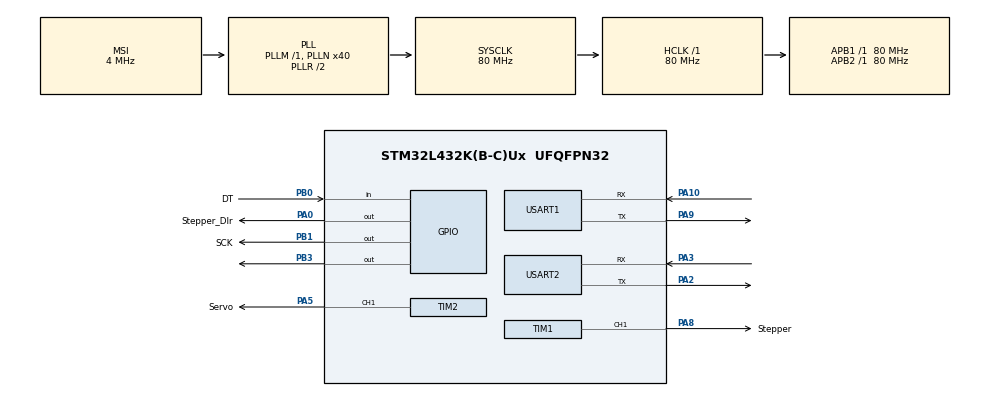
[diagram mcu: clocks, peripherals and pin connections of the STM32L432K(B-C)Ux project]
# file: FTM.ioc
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Dma.Request0=USART1_RX
Dma.Request1=USART1_TX
Dma.Request2=USART2_RX
Dma.Request3=USART2_TX
Dma.USART1_RX.0.Direction=DMA_PERIPH_TO_MEMORY
Dma.USART1_RX.0.Instance=DMA1_Channel5
Dma.USART1_RX.0.MemDataAlignment=DMA_MDATAALIGN_BYTE
Dma.USART1_RX.0.MemInc=DMA_MINC_ENABLE
Dma.USART1_RX.0.Mode=DMA_CIRCULAR
Dma.USART1_RX.0.PeriphDataAlignment=DMA_PDATAALIGN_BYTE
Dma.USART1_RX.0.PeriphInc=DMA_PINC_DISABLE
Dma.USART1_RX.0.Priority=DMA_PRIORITY_LOW
Dma.USART1_TX.1.Direction=DMA_MEMORY_TO_PERIPH
Dma.USART1_TX.1.Instance=DMA1_Channel4
Dma.USART1_TX.1.MemDataAlignment=DMA_MDATAALIGN_BYTE
Dma.USART1_TX.1.MemInc=DMA_MINC_ENABLE
Dma.USART1_TX.1.Mode=DMA_CIRCULAR
Dma.USART1_TX.1.PeriphDataAlignment=DMA_PDATAALIGN_BYTE
Dma.USART1_TX.1.PeriphInc=DMA_PINC_DISABLE
Dma.USART1_TX.1.Priority=DMA_PRIORITY_LOW
Dma.USART2_RX.2.Direction=DMA_PERIPH_TO_MEMORY
Dma.USART2_RX.2.Instance=DMA1_Channel6
Dma.USART2_RX.2.MemDataAlignment=DMA_MDATAALIGN_BYTE
Dma.USART2_RX.2.MemInc=DMA_MINC_ENABLE
Dma.USART2_RX.2.Mode=DMA_CIRCULAR
Dma.USART2_RX.2.PeriphDataAlignment=DMA_PDATAALIGN_BYTE
Dma.USART2_RX.2.PeriphInc=DMA_PINC_DISABLE
Dma.USART2_RX.2.Priority=DMA_PRIORITY_LOW
Dma.USART2_TX.3.Direction=DMA_MEMORY_TO_PERIPH
Dma.USART2_TX.3.Instance=DMA1_Channel7
Dma.USART2_TX.3.MemDataAlignment=DMA_MDATAALIGN_BYTE
Dma.USART2_TX.3.MemInc=DMA_MINC_ENABLE
Dma.USART2_TX.3.Mode=DMA_CIRCULAR
Dma.USART2_TX.3.PeriphDataAlignment=DMA_PDATAALIGN_BYTE
Dma.USART2_TX.3.PeriphInc=DMA_PINC_DISABLE
Dma.USART2_TX.3.Priority=DMA_PRIORITY_LOW
FREERTOS.BinarySemaphores01=Stepper_Semaphore,Dynamic,NULL,Available;Servo_Semaphore,Dynamic,NULL,Depleted;Load_Cell_Semaphore,Dynamic,NULL,Depleted
FREERTOS.Tasks01=Stepper_Motor,40,128,Stepper_Motor_Init,Default,NULL,Dynamic,NULL,NULL;Servo_Motor,16,128,Servo_Motor_Init,Default,NULL,Dynamic,NULL,NULL;Load_Cell,16,128,Load_Cell_Init,Default,NULL,Dynamic,NULL,NULL
Mcu.Family=STM32L4
Mcu.Name=STM32L432K(B-C)Ux
Mcu.Package=UFQFPN32
NVIC.DMA1_Channel4_IRQn=true\:5\:0\:false\:false\:true\:true\:false\:true\:true
NVIC.DMA1_Channel5_IRQn=true\:5\:0\:false\:false\:true\:true\:false\:true\:true
NVIC.DMA1_Channel6_IRQn=true\:5\:0\:false\:false\:true\:true\:false\:true\:true
NVIC.DMA1_Channel7_IRQn=true\:5\:0\:false\:false\:true\:true\:false\:true\:true
NVIC.PriorityGroup=NVIC_PRIORITYGROUP_4
NVIC.TIM6_DAC_IRQn=true\:15\:0\:false\:false\:true\:false\:false\:true\:true
NVIC.TimeBase=TIM6_DAC_IRQn
NVIC.TimeBaseIP=TIM6
PA0.GPIO_Label=Stepper_DIr
PA0.Signal=GPIO_Output
PA10.Mode=Asynchronous
PA10.Signal=USART1_RX
PA2.Mode=Asynchronous
PA2.Signal=USART2_TX
PA3.Mode=Asynchronous
PA3.Signal=USART2_RX
PA5.GPIO_Label=Servo
PA5.Signal=S_TIM2_CH1
PA8.GPIO_Label=Stepper
PA8.Signal=S_TIM1_CH1
PA9.Mode=Asynchronous
PA9.Signal=USART1_TX
PB0.GPIO_Label=DT
PB0.Signal=GPIO_Input
PB1.GPIO_Label=SCK
PB1.Signal=GPIO_Output
PB3\ (JTDO-TRACESWO).Signal=GPIO_Output
ProjectManager.HeapSize=0x200
ProjectManager.StackSize=0x400
ProjectManager.TargetToolchain=MDK-ARM V5.32
RCC.AHBFreq_Value=80000000
RCC.APB1Freq_Value=80000000
RCC.APB1TimFreq_Value=80000000
RCC.APB2Freq_Value=80000000
RCC.APB2TimFreq_Value=80000000
RCC.CortexFreq_Value=80000000
RCC.HCLKFreq_Value=80000000
RCC.HSE_VALUE=8000000
RCC.HSI48_VALUE=48000000
RCC.HSI_VALUE=16000000
RCC.LSE_VALUE=32768
RCC.MSI_VALUE=4000000
RCC.PLLN=40
RCC.SYSCLKFreq_VALUE=80000000
RCC.SYSCLKSource=RCC_SYSCLKSOURCE_PLLCLK
RCC.VCOOutputFreq_Value=160000000
SH.S_TIM1_CH1.0=TIM1_CH1,PWM Generation1 CH1
SH.S_TIM2_CH1.0=TIM2_CH1,PWM Generation1 CH1
TIM1.Channel-PWM\ Generation1\ CH1=TIM_CHANNEL_1
TIM1.Period=1000-1
TIM1.Prescaler=80-1
TIM2.Channel-PWM\ Generation1\ CH1=TIM_CHANNEL_1
TIM2.Period=1000-1
TIM2.Prescaler=1500
USART1.VirtualMode-Asynchronous=VM_ASYNC
USART2.VirtualMode-Asynchronous=VM_ASYNC
VP_FREERTOS_VS_CMSIS_V2.Mode=CMSIS_V2
VP_SYS_VS_tim6.Mode=TIM6
VP_TIM1_VS_ClockSourceINT.Mode=Internal
VP_TIM2_VS_ClockSourceINT.Mode=Internal
board=custom

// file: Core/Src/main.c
/* USER CODE BEGIN Header */
/**
  ******************************************************************************
  * @file           : main.c
  * @brief          : Main program body
  ******************************************************************************
  * @attention
  *
  * Copyright (c) 2024 STMicroelectronics.
  * All rights reserved.
  *
  * This software is licensed under terms that can be found in the LICENSE file
  * in the root directory of this software component.
  * If no LICENSE file comes with this software, it is provided AS-IS.
  *
  ******************************************************************************
  */
/* USER CODE END Header */
#include "main.h"
#include "cmsis_os.h"

/* USER CODE BEGIN Includes */
#include "stm32l4xx_hal.h"
#include "stdbool.h"

/* USER CODE END Includes */

/* USER CODE BEGIN PD */

#define STEP_DELAY 50 			// Decrease delay to increase servo speed
#define SERVO_MIN_ANGLE 0   // Minimum servo angle in degrees
#define SERVO_MAX_ANGLE 180 // Maximum servo angle in degrees
#define SERVO_MIN_PULSE 25  // Corresponding pulse width for min angle (1ms)
#define SERVO_MAX_PULSE 125 // Corresponding pulse width for max angle (2ms)
#define DT_PIN GPIO_PIN_0   // Load cell  DT Pin
#define DT_PORT GPIOB       // load Cell DT  Port
#define SCK_PIN GPIO_PIN_1  // Load Cell SCK Pin
#define SCK_PORT GPIOB      // Load Cell SCK Port
#define Buffer_Size 9       // Buffer Size for receiving Data

/* USER CODE END PD */

TIM_HandleTypeDef htim1;
TIM_HandleTypeDef htim2;

UART_HandleTypeDef huart1;
UART_HandleTypeDef huart2;
DMA_HandleTypeDef hdma_usart1_rx;
DMA_HandleTypeDef hdma_usart1_tx;
DMA_HandleTypeDef hdma_usart2_rx;
DMA_HandleTypeDef hdma_usart2_tx;

/* Definitions for Stepper_Motor */
osThreadId_t Stepper_MotorHandle;
const osThreadAttr_t Stepper_Motor_attributes = {
  .name = "Stepper_Motor",
  .stack_size = 128 * 4,
  .priority = (osPriority_t) osPriorityHigh,
};
/* Definitions for Servo_Motor */
osThreadId_t Servo_MotorHandle;
const osThreadAttr_t Servo_Motor_attributes = {
  .name = "Servo_Motor",
  .stack_size = 128 * 4,
  .priority = (osPriority_t) osPriorityBelowNormal,
};
/* Definitions for Load_Cell */
osThreadId_t Load_CellHandle;
const osThreadAttr_t Load_Cell_attributes = {
  .name = "Load_Cell",
  .stack_size = 128 * 4,
  .priority = (osPriority_t) osPriorityBelowNormal,
};
/* Definitions for Stepper_Semaphore */
osSemaphoreId_t Stepper_SemaphoreHandle;
const osSemaphoreAttr_t Stepper_Semaphore_attributes = {
  .name = "Stepper_Semaphore"
};
/* Definitions for Servo_Semaphore */
osSemaphoreId_t Servo_SemaphoreHandle;
const osSemaphoreAttr_t Servo_Semaphore_attributes = {
  .name = "Servo_Semaphore"
};
/* Definitions for Load_Cell_Semaphore */
osSemaphoreId_t Load_Cell_SemaphoreHandle;
const osSemaphoreAttr_t Load_Cell_Semaphore_attributes = {
  .name = "Load_Cell_Semaphore"
};
/* USER CODE BEGIN PV */

uint16_t current_angle = 10;
int state = 0;
int length = 16500;
int stepper_speed = 15000;
int servo_angle = 90;
bool servo_active = false;
char buffer[24] = {0X5A,0XA5,0X07,0X82,0X10,0X00,0X00,0x00,0x00,0x00,
	0x5A,0XA5,0X0B,0X82,0X03,0X10,0X5a,0Xa5,0X01,0X00,0X01,0X01,0X00,0X00
};
bool toggle_flag = false;  // Define a flag to toggle between 0 and measured value
uint8_t rx_buffer[Buffer_Size];
uint16_t vp_address = 0x1100;  // VP address for the Transmitting
uint16_t VP_Address; 	// VP Address For Receiving
volatile int start_flag = 0;
volatile int stop_flag = 0;
volatile bool stop_servo = false;
bool movement_in_progress = false;
volatile bool servo_running = false;

/* USER CODE END PV */

void SystemClock_Config(void);
static void MX_GPIO_Init(void);
static void MX_DMA_Init(void);
static void MX_TIM1_Init(void);
static void MX_TIM2_Init(void);
static void MX_USART2_UART_Init(void);
static void MX_USART1_UART_Init(void);
void Stepper_Motor_Init(void *argument);
void Servo_Motor_Init(void *argument);
void Load_Cell_Init(void *argument);

/* USER CODE BEGIN PFP */

void move_servo_to_angle(uint16_t target_angle, uint16_t speed);
void SendDataToLCD(int value);
void DisplayGraph(int reading);
void DisplayNumber(uint16_t vp__address, int values);
void Start_Process(void);
void Stop_Process(void);

/* USER CODE END PFP */

/* USER CODE BEGIN 0 */

uint32_t tare =7933904;
float knownOriginal = 100000;  // in milli gram
float knownHX711 = 45539;
int force;

/* USER CODE END 0 */

int main(void)

{

  /* MCU Configuration--------------------------------------------------------*/

  /* Reset of all peripherals, Initializes the Flash interface and the Systick. */
  HAL_Init();

  /* Configure the system clock */
  SystemClock_Config();

  /* Initialize all configured peripherals */
  MX_GPIO_Init();
  MX_DMA_Init();
  MX_TIM1_Init();
  MX_TIM2_Init();
  MX_USART2_UART_Init();
  MX_USART1_UART_Init();
  /* USER CODE BEGIN 2 */
		HAL_Delay(500);

		HAL_UART_Receive_DMA(&huart2, rx_buffer, Buffer_Size);
	 //HAL_UART_Transmit_DMA(&huart2, rx_buffer, Buffer_Size);

	 HAL_TIM_PWM_Start(&htim2, TIM_CHANNEL_1);

	 HAL_GPIO_WritePin(SCK_PORT, SCK_PIN, GPIO_PIN_SET);
   osDelay(10);
   HAL_GPIO_WritePin(SCK_PORT, SCK_PIN, GPIO_PIN_RESET);
   osDelay(10);

  /* USER CODE END 2 */

  /* Init scheduler */
  osKernelInitialize();

  /* Create the semaphores(s) */
  /* creation of Stepper_Semaphore */
  Stepper_SemaphoreHandle = osSemaphoreNew(1, 0, &Stepper_Semaphore_attributes);

  /* creation of Servo_Semaphore */
  Servo_SemaphoreHandle = osSemaphoreNew(1, 0, &Servo_Semaphore_attributes);

  /* creation of Load_Cell_Semaphore */
  Load_Cell_SemaphoreHandle = osSemaphoreNew(1, 0, &Load_Cell_Semaphore_attributes);

  /* Create the thread(s) */
  /* creation of Stepper_Motor */
  Stepper_MotorHandle = osThreadNew(Stepper_Motor_Init, NULL, &Stepper_Motor_attributes);

  /* creation of Servo_Motor */
  Servo_MotorHandle = osThreadNew(Servo_Motor_Init, NULL, &Servo_Motor_attributes);

  /* creation of Load_Cell */
  Load_CellHandle = osThreadNew(Load_Cell_Init, NULL, &Load_Cell_attributes);

  /* Start scheduler */
  osKernelStart();

  /* We should never get here as control is now taken by the scheduler */

  /* Infinite loop */
  while (1)
  {

    /* USER CODE BEGIN 3 */
		HAL_Delay(50);
  }
  /* USER CODE END 3 */
}

void SystemClock_Config(void)
{
  RCC_OscInitTypeDef RCC_OscInitStruct = {0};
  RCC_ClkInitTypeDef RCC_ClkInitStruct = {0};

  /** Configure the main internal regulator output voltage
  */
  if (HAL_PWREx_ControlVoltageScaling(PWR_REGULATOR_VOLTAGE_SCALE1) != HAL_OK)
  {
    Error_Handler();
  }

  /** Initializes the RCC Oscillators according to the specified parameters
  * in the RCC_OscInitTypeDef structure.
  */
  RCC_OscInitStruct.OscillatorType = RCC_OSCILLATORTYPE_MSI;
  RCC_OscInitStruct.MSIState = RCC_MSI_ON;
  RCC_OscInitStruct.MSICalibrationValue = 0;
  RCC_OscInitStruct.MSIClockRange = RCC_MSIRANGE_6;
  RCC_OscInitStruct.PLL.PLLState = RCC_PLL_ON;
  RCC_OscInitStruct.PLL.PLLSource = RCC_PLLSOURCE_MSI;
  RCC_OscInitStruct.PLL.PLLM = 1;
  RCC_OscInitStruct.PLL.PLLN = 40;
  RCC_OscInitStruct.PLL.PLLP = RCC_PLLP_DIV7;
  RCC_OscInitStruct.PLL.PLLQ = RCC_PLLQ_DIV2;
  RCC_OscInitStruct.PLL.PLLR = RCC_PLLR_DIV2;
  if (HAL_RCC_OscConfig(&RCC_OscInitStruct) != HAL_OK)
  {
    Error_Handler();
  }

  /** Initializes the CPU, AHB and APB buses clocks
  */
  RCC_ClkInitStruct.ClockType = RCC_CLOCKTYPE_HCLK|RCC_CLOCKTYPE_SYSCLK
                              |RCC_CLOCKTYPE_PCLK1|RCC_CLOCKTYPE_PCLK2;
  RCC_ClkInitStruct.SYSCLKSource = RCC_SYSCLKSOURCE_PLLCLK;
  RCC_ClkInitStruct.AHBCLKDivider = RCC_SYSCLK_DIV1;
  RCC_ClkInitStruct.APB1CLKDivider = RCC_HCLK_DIV1;
  RCC_ClkInitStruct.APB2CLKDivider = RCC_HCLK_DIV1;

  if (HAL_RCC_ClockConfig(&RCC_ClkInitStruct, FLASH_LATENCY_4) != HAL_OK)
  {
    Error_Handler();
  }
}

static void MX_TIM1_Init(void)
{

  TIM_ClockConfigTypeDef sClockSourceConfig = {0};
  TIM_MasterConfigTypeDef sMasterConfig = {0};
  TIM_OC_InitTypeDef sConfigOC = {0};
  TIM_BreakDeadTimeConfigTypeDef sBreakDeadTimeConfig = {0};

  htim1.Instance = TIM1;
  htim1.Init.Prescaler = 80-1;
  htim1.Init.CounterMode = TIM_COUNTERMODE_UP;
  htim1.Init.Period = 1000-1;
  htim1.Init.ClockDivision = TIM_CLOCKDIVISION_DIV1;
  htim1.Init.RepetitionCounter = 0;
  htim1.Init.AutoReloadPreload = TIM_AUTORELOAD_PRELOAD_DISABLE;
  if (HAL_TIM_Base_Init(&htim1) != HAL_OK)
  {
    Error_Handler();
  }
  sClockSourceConfig.ClockSource = TIM_CLOCKSOURCE_INTERNAL;
  if (HAL_TIM_ConfigClockSource(&htim1, &sClockSourceConfig) != HAL_OK)
  {
    Error_Handler();
  }
  if (HAL_TIM_PWM_Init(&htim1) != HAL_OK)
  {
    Error_Handler();
  }
  sMasterConfig.MasterOutputTrigger = TIM_TRGO_RESET;
  sMasterConfig.MasterOutputTrigger2 = TIM_TRGO2_RESET;
  sMasterConfig.MasterSlaveMode = TIM_MASTERSLAVEMODE_DISABLE;
  if (HAL_TIMEx_MasterConfigSynchronization(&htim1, &sMasterConfig) != HAL_OK)
  {
    Error_Handler();
  }
  sConfigOC.OCMode = TIM_OCMODE_PWM1;
  sConfigOC.Pulse = 0;
  sConfigOC.OCPolarity = TIM_OCPOLARITY_HIGH;
  sConfigOC.OCNPolarity = TIM_OCNPOLARITY_HIGH;
  sConfigOC.OCFastMode = TIM_OCFAST_DISABLE;
  sConfigOC.OCIdleState = TIM_OCIDLESTATE_RESET;
  sConfigOC.OCNIdleState = TIM_OCNIDLESTATE_RESET;
  if (HAL_TIM_PWM_ConfigChannel(&htim1, &sConfigOC, TIM_CHANNEL_1) != HAL_OK)
  {
    Error_Handler();
  }
  sBreakDeadTimeConfig.OffStateRunMode = TIM_OSSR_DISABLE;
  sBreakDeadTimeConfig.OffStateIDLEMode = TIM_OSSI_DISABLE;
  sBreakDeadTimeConfig.LockLevel = TIM_LOCKLEVEL_OFF;
  sBreakDeadTimeConfig.DeadTime = 0;
  sBreakDeadTimeConfig.BreakState = TIM_BREAK_DISABLE;
  sBreakDeadTimeConfig.BreakPolarity = TIM_BREAKPOLARITY_HIGH;
  sBreakDeadTimeConfig.BreakFilter = 0;
  sBreakDeadTimeConfig.Break2State = TIM_BREAK2_DISABLE;
  sBreakDeadTimeConfig.Break2Polarity = TIM_BREAK2POLARITY_HIGH;
  sBreakDeadTimeConfig.Break2Filter = 0;
  sBreakDeadTimeConfig.AutomaticOutput = TIM_AUTOMATICOUTPUT_DISABLE;
  if (HAL_TIMEx_ConfigBreakDeadTime(&htim1, &sBreakDeadTimeConfig) != HAL_OK)
  {
    Error_Handler();
  }
  HAL_TIM_MspPostInit(&htim1);

}

static void MX_TIM2_Init(void)
{

  TIM_ClockConfigTypeDef sClockSourceConfig = {0};
  TIM_MasterConfigTypeDef sMasterConfig = {0};
  TIM_OC_InitTypeDef sConfigOC = {0};

  htim2.Instance = TIM2;
  htim2.Init.Prescaler = 1500;
  htim2.Init.CounterMode = TIM_COUNTERMODE_UP;
  htim2.Init.Period = 1000-1;
  htim2.Init.ClockDivision = TIM_CLOCKDIVISION_DIV1;
  htim2.Init.AutoReloadPreload = TIM_AUTORELOAD_PRELOAD_DISABLE;
  if (HAL_TIM_Base_Init(&htim2) != HAL_OK)
  {
    Error_Handler();
  }
  sClockSourceConfig.ClockSource = TIM_CLOCKSOURCE_INTERNAL;
  if (HAL_TIM_ConfigClockSource(&htim2, &sClockSourceConfig) != HAL_OK)
  {
    Error_Handler();
  }
  if (HAL_TIM_PWM_Init(&htim2) != HAL_OK)
  {
    Error_Handler();
  }
  sMasterConfig.MasterOutputTrigger = TIM_TRGO_RESET;
  sMasterConfig.MasterSlaveMode = TIM_MASTERSLAVEMODE_DISABLE;
  if (HAL_TIMEx_MasterConfigSynchronization(&htim2, &sMasterConfig) != HAL_OK)
  {
    Error_Handler();
  }
  sConfigOC.OCMode = TIM_OCMODE_PWM1;
  sConfigOC.Pulse = 0;
  sConfigOC.OCPolarity = TIM_OCPOLARITY_HIGH;
  sConfigOC.OCFastMode = TIM_OCFAST_DISABLE;
  if (HAL_TIM_PWM_ConfigChannel(&htim2, &sConfigOC, TIM_CHANNEL_1) != HAL_OK)
  {
    Error_Handler();
  }
  HAL_TIM_MspPostInit(&htim2);

}

static void MX_USART1_UART_Init(void)
{

  huart1.Instance = USART1;
  huart1.Init.BaudRate = 115200;
  huart1.Init.WordLength = UART_WORDLENGTH_8B;
  huart1.Init.StopBits = UART_STOPBITS_1;
  huart1.Init.Parity = UART_PARITY_NONE;
  huart1.Init.Mode = UART_MODE_TX_RX;
  huart1.Init.HwFlowCtl = UART_HWCONTROL_NONE;
  huart1.Init.OverSampling = UART_OVERSAMPLING_16;
  huart1.Init.OneBitSampling = UART_ONE_BIT_SAMPLE_DISABLE;
  huart1.AdvancedInit.AdvFeatureInit = UART_ADVFEATURE_NO_INIT;
  if (HAL_UART_Init(&huart1) != HAL_OK)
  {
    Error_Handler();
  }

}

static void MX_USART2_UART_Init(void)
{

  huart2.Instance = USART2;
  huart2.Init.BaudRate = 115200;
  huart2.Init.WordLength = UART_WORDLENGTH_8B;
  huart2.Init.StopBits = UART_STOPBITS_1;
  huart2.Init.Parity = UART_PARITY_NONE;
  huart2.Init.Mode = UART_MODE_TX_RX;
  huart2.Init.HwFlowCtl = UART_HWCONTROL_NONE;
  huart2.Init.OverSampling = UART_OVERSAMPLING_16;
  huart2.Init.OneBitSampling = UART_ONE_BIT_SAMPLE_DISABLE;
  huart2.AdvancedInit.AdvFeatureInit = UART_ADVFEATURE_NO_INIT;
  if (HAL_UART_Init(&huart2) != HAL_OK)
  {
    Error_Handler();
  }

}

static void MX_DMA_Init(void)
{

  /* DMA controller clock enable */
  __HAL_RCC_DMA1_CLK_ENABLE();

  /* DMA interrupt init */
  /* DMA1_Channel4_IRQn interrupt configuration */
  HAL_NVIC_SetPriority(DMA1_Channel4_IRQn, 5, 0);
  HAL_NVIC_EnableIRQ(DMA1_Channel4_IRQn);
  /* DMA1_Channel5_IRQn interrupt configuration */
  HAL_NVIC_SetPriority(DMA1_Channel5_IRQn, 5, 0);
  HAL_NVIC_EnableIRQ(DMA1_Channel5_IRQn);
  /* DMA1_Channel6_IRQn interrupt configuration */
  HAL_NVIC_SetPriority(DMA1_Channel6_IRQn, 5, 0);
  HAL_NVIC_EnableIRQ(DMA1_Channel6_IRQn);
  /* DMA1_Channel7_IRQn interrupt configuration */
  HAL_NVIC_SetPriority(DMA1_Channel7_IRQn, 5, 0);
  HAL_NVIC_EnableIRQ(DMA1_Channel7_IRQn);

}

static void MX_GPIO_Init(void)
{
  GPIO_InitTypeDef GPIO_InitStruct = {0};

  /* GPIO Ports Clock Enable */
  __HAL_RCC_GPIOA_CLK_ENABLE();
  __HAL_RCC_GPIOB_CLK_ENABLE();

  /*Configure GPIO pin Output Level */
  HAL_GPIO_WritePin(Stepper_DIr_GPIO_Port, Stepper_DIr_Pin, GPIO_PIN_RESET);

  /*Configure GPIO pin Output Level */
  HAL_GPIO_WritePin(GPIOB, SCK_Pin|GPIO_PIN_3, GPIO_PIN_RESET);

  /*Configure GPIO pin : Stepper_DIr_Pin */
  GPIO_InitStruct.Pin = Stepper_DIr_Pin;
  GPIO_InitStruct.Mode = GPIO_MODE_OUTPUT_PP;
  GPIO_InitStruct.Pull = GPIO_NOPULL;
  GPIO_InitStruct.Speed = GPIO_SPEED_FREQ_LOW;
  HAL_GPIO_Init(Stepper_DIr_GPIO_Port, &GPIO_InitStruct);

  /*Configure GPIO pin : DT_Pin */
  GPIO_InitStruct.Pin = DT_Pin;
  GPIO_InitStruct.Mode = GPIO_MODE_INPUT;
  GPIO_InitStruct.Pull = GPIO_NOPULL;
  HAL_GPIO_Init(DT_GPIO_Port, &GPIO_InitStruct);

  /*Configure GPIO pins : SCK_Pin PB3 */
  GPIO_InitStruct.Pin = SCK_Pin|GPIO_PIN_3;
  GPIO_InitStruct.Mode = GPIO_MODE_OUTPUT_PP;
  GPIO_InitStruct.Pull = GPIO_NOPULL;
  GPIO_InitStruct.Speed = GPIO_SPEED_FREQ_LOW;
  HAL_GPIO_Init(GPIOB, &GPIO_InitStruct);

}

/* USER CODE BEGIN 4 */

uint16_t angle_to_pwm(uint16_t angle)
{
    return (angle * (SERVO_MAX_PULSE - SERVO_MIN_PULSE) / (SERVO_MAX_ANGLE - SERVO_MIN_ANGLE)) + SERVO_MIN_PULSE;
}

void move_servo_to_angle(uint16_t target_angle, uint16_t speed)
{
    uint16_t target_pwm = angle_to_pwm(target_angle);
    uint16_t current_pwm = angle_to_pwm(current_angle);

    // Loop to increment/decrement the PWM until target is reached
    while (current_pwm != target_pwm)
    {
        // Immediately stop if stop_servo is true
        if (stop_servo)
        {
            // Stop the servo immediately
            __HAL_TIM_SET_COMPARE(&htim2, TIM_CHANNEL_1, 0);
            current_angle = target_angle;  // Update angle as if it reached target
            return; // Exit function immediately to stop further movement
        }

        // Update PWM to move towards target
        if (current_pwm < target_pwm)
        {
            current_pwm++;
        }
        else
        {
            current_pwm--;
        }

        // Update the PWM value for the servo
        __HAL_TIM_SET_COMPARE(&htim2, TIM_CHANNEL_1, current_pwm);

        // Add delay to control the speed of the movement
        osDelay(speed);  // Adjust this delay for smooth movement
    }

    // After loop, set the current angle to target angle
    current_angle = target_angle;
}

void adjust_stepper_speed(uint16_t speed)
{
    __HAL_TIM_SET_AUTORELOAD(&htim1, speed);  // Adjust the period based on the speed value
}

int32_t getHX711(void)
{
    uint32_t data = 0;
    uint32_t startTime = HAL_GetTick();

    // Wait for the DT pin to go low
    while (HAL_GPIO_ReadPin(DT_PORT, DT_PIN) == GPIO_PIN_SET)
    {
        if (HAL_GetTick() - startTime > 200)
            return 0;
    }

    for (int8_t len = 0; len < 24; len++)
    {
        HAL_GPIO_WritePin(SCK_PORT, SCK_PIN, GPIO_PIN_SET);
        data = data << 1;
        HAL_GPIO_WritePin(SCK_PORT, SCK_PIN, GPIO_PIN_RESET);
        if (HAL_GPIO_ReadPin(DT_PORT, DT_PIN) == GPIO_PIN_SET)
            data++;
    }

    data = data ^ 0x800000;
    HAL_GPIO_WritePin(SCK_PORT, SCK_PIN, GPIO_PIN_SET);
    osDelay(1);
    HAL_GPIO_WritePin(SCK_PORT, SCK_PIN, GPIO_PIN_RESET);
    osDelay(1);

    return data;
}

	float weigh()
	{
			int32_t total = 0;
			int32_t samples = 1;
			int milligram;
			float coefficient;
			float force;

			for(uint16_t i = 0; i < samples; i++)
			{
					total += getHX711();
			}
			int32_t average = (int32_t)(total / samples);
			coefficient = knownOriginal / knownHX711;
			milligram = (int)(average - tare) * coefficient;
			//return milligram;

//			// Converting milligrams to kilograms
			float mass_kg = milligram / 1000000.0;

			// Calculate force in Newtons (F = m * g)
			force = mass_kg * 9.81f;
			force = force*1000;
			//force = force-3000;
			if(servo_angle == 120)
			{
				force = force-1000;
			}

			if(servo_angle == 150)
			{
				force = force-1700;
			}

			if (force < 0  )
			{
					force = 0;
			}

			return force;
	}

void HAL_UART_RxCpltCallback(UART_HandleTypeDef *huart)
{
//    if (huart == &huart2)
//    {

        VP_Address = (rx_buffer[4] << 8) | rx_buffer[5];
				if (VP_Address == 0x3000)
        {
            switch(rx_buffer[8])
            {
                case 0:
									start_flag = 1;
									stop_servo = false;
									move_servo_to_angle(11, STEP_DELAY);

									//HAL_TIM_PWM_Start(&htim1, TIM_CHANNEL_1);
									break;

								case 1:
									start_flag = 0;
									stop_servo = true;
									HAL_TIM_PWM_Stop(&htim1, TIM_CHANNEL_1); // Explicitly stop stepper PWM
									osSemaphoreRelease(Stepper_SemaphoreHandle); // Release semaphore for clean state
									break;

            }
					}

        else if (VP_Address == 0x1000)
        {
            switch(rx_buffer[8])
            {
                case 0:
									length = 16500;
//                    stepper_speed = 15000;
//										adjust_stepper_speed(stepper_speed);
                    break;
                case 1:
									length = 22000;
//                    stepper_speed = 11000;
//										adjust_stepper_speed(stepper_speed);
										break;
                case 2:
									length = 25000;

//                   stepper_speed = 7000;
//									 adjust_stepper_speed(stepper_speed);
                   break;
            }
					}
				else if (VP_Address == 0x2000)
        {
            switch(rx_buffer[8])
            {
                case 0:
                    servo_angle = 90;
                    break;
                case 1:
                    servo_angle = 120;
										break;
                case 2:
                   servo_angle = 150;
                   break;
            }
					}
//        }

        //HAL_UART_Receive_DMA(&huart2, rx_buffer, Buffer_Size);
}

void DisplayNumber(uint16_t vp__address, int values)
{
			buffer[4] = (vp__address >> 8) & 0xFF;  // High byte of VP address
			buffer[5] = vp__address & 0xFF;         // Low byte of VP address
			buffer[6] = (values >> 8) & 0xFF;     // High byte of value
			buffer[7] = values & 0xFF; 					 // Low byte of value

			buffer[22] = (values >> 8) & 0xFF;     // High byte of value
			buffer[23] = values & 0xFF; 					 // Low byte of value
			HAL_UART_Transmit_DMA(&huart2, (uint8_t*)buffer, sizeof(buffer));
}

void Stop_Process(void)
{

	HAL_TIM_PWM_Stop(&htim1, TIM_CHANNEL_1);
	osSemaphoreRelease(Stepper_SemaphoreHandle);
	osSemaphoreRelease(Servo_SemaphoreHandle);
	servo_active = false;

}

/* USER CODE END 4 */

void Stepper_Motor_Init(void *argument)
{
    for (;;)
    {
        adjust_stepper_speed(stepper_speed);

        if (start_flag)
        {
            // Attempt to acquire semaphore for stepper
            if (osSemaphoreAcquire(Stepper_SemaphoreHandle, osWaitForever) == osOK)
            {
                TIM1->CCR1 = 50; // Set duty cycle
                HAL_TIM_PWM_Start(&htim1, TIM_CHANNEL_1); // Start PWM

                for (int i = 0; i < length; i += 10)
                {
                    if (!start_flag) break; // Exit loop if stop flag is set
                    vTaskDelay(pdMS_TO_TICKS(10));
                }

                HAL_TIM_PWM_Stop(&htim1, TIM_CHANNEL_1); // Stop PWM after execution

                if (start_flag)
                {
                    servo_active = true;
                    osSemaphoreRelease(Servo_SemaphoreHandle);
                }
            }
        }
        else
        {
            // Ensure stepper stops immediately when `start_flag` is cleared
            HAL_TIM_PWM_Stop(&htim1, TIM_CHANNEL_1);
            osSemaphoreRelease(Stepper_SemaphoreHandle);
        }

        vTaskDelay(pdMS_TO_TICKS(10)); // Allow other tasks to execute
    }
}

  /* USER CODE END 5 */

void Servo_Motor_Init(void *argument)
{
    for (;;)
    {
        if (start_flag)
        {
            stop_servo = false;
            movement_in_progress = true;
            servo_running = true; // Set servo as active

            if (osSemaphoreAcquire(Servo_SemaphoreHandle, osWaitForever) == osOK)
            {
                move_servo_to_angle(10, STEP_DELAY);
                if (!start_flag || stop_servo) goto stop_servo_cleanup;

                vTaskDelay(pdMS_TO_TICKS(1000));

                move_servo_to_angle(servo_angle, STEP_DELAY);
                if (!start_flag || stop_servo) goto stop_servo_cleanup;

                vTaskDelay(pdMS_TO_TICKS(1000));

                move_servo_to_angle(10, STEP_DELAY);
                if (!start_flag || stop_servo) goto stop_servo_cleanup;

                movement_in_progress = false;
                servo_running = false; // Mark servo operation as complete

                if (start_flag)
                {
                    servo_active = false;
                    osSemaphoreRelease(Stepper_SemaphoreHandle);
                }
            }
        }
        else
        {
        stop_servo_cleanup:
            __HAL_TIM_SET_COMPARE(&htim2, TIM_CHANNEL_1, 0); // Stop PWM

            movement_in_progress = false;
            servo_running = false; // Mark servo operation as complete
            osSemaphoreRelease(Stepper_SemaphoreHandle);
						stop_servo = true;
						move_servo_to_angle(10, STEP_DELAY);
        }

        vTaskDelay(pdMS_TO_TICKS(10)); // Allow other tasks to execute
    }
}

void Load_Cell_Init(void *argument)
{
  /* USER CODE BEGIN Load_Cell_Init */
  /* Infinite loop */
  for(;;)
    {
        // Activate load cell only when servo is active
        if(servo_active)
        {
            //HAL_Delay(50);
            force = weigh();  // Reading weight from load cell
            // Send weight to LCD
           DisplayNumber(vp_address, force);
        }
        else
        {
            // If the servo is not active, always send 0
            force = 0;
          DisplayNumber(vp_address, force);
        }
        vTaskDelay(pdMS_TO_TICKS(500));  // Adjust delay as needed
    }
  /* USER CODE END Load_Cell_Init */
}

void HAL_TIM_PeriodElapsedCallback(TIM_HandleTypeDef *htim)
{
  if (htim->Instance == TIM6) {
    HAL_IncTick();
  }
}

void Error_Handler(void)
{
  __disable_irq();
  while (1)
  {
  }
}

#ifdef  USE_FULL_ASSERT
/**
  * @brief  Reports the name of the source file and the source line number
  *         where the assert_param error has occurred.
  * @param  file: pointer to the source file name
  * @param  line: assert_param error line source number
  * @retval None
  */
void assert_failed(uint8_t *file, uint32_t line)
{
  /* USER CODE BEGIN 6 */
  /* User can add his own implementation to report the file
 name and line number,
     ex: printf("Wrong parameters value: file %s on line %d\r\n", file, line) */
  /* USER CODE END 6 */
}
#endif /* USE_FULL_ASSERT */
